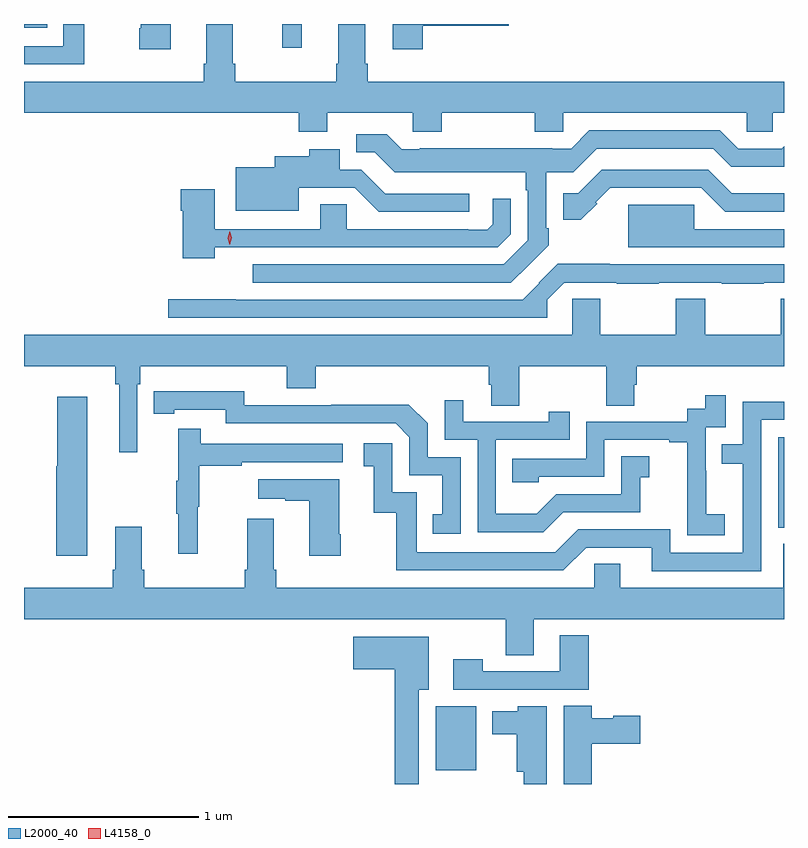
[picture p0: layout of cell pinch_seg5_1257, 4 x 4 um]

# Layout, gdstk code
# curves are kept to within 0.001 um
import gdstk
lib = gdstk.Library(unit=1e-6, precision=1e-09)
def R(c, l, rs):  # rectangles x0, y0, x1, y1
    for r in rs: c.add(gdstk.rectangle(r[:2], r[2:], *l))
def P(c, l, *ps):  # polygons
    for p in ps: c.add(gdstk.Polygon(p, *l))
L2000_40 = (2000, 40)
L4158_0 = (4158, 0)

pinch_seg5_1257 = lib.new_cell('pinch_seg5_1257')
R(pinch_seg5_1257, L2000_40, [(494.348,834.653,494.56,834.988), (496.149,835.929,496.18,836.406), (493.54,838.455,493.643,838.58), (492.18,838.56,492.302,838.58)])
P(pinch_seg5_1257, L2000_40, [(493.777,838.112),(494.226,838.112),(494.226,838.013),(494.378,838.013),(494.378,838.112),(494.867,838.112),(494.867,838.014),(495.018,838.014),(495.018,838.112),(495.984,838.112),(495.984,838.014),(496.122,838.014),(496.122,838.112),(496.18,838.112),(496.18,838.276),(493.988,838.276),(493.988,838.372),(493.975,838.372),(493.975,838.58),(493.835,838.58),(493.835,838.372),(493.823,838.372),(493.823,838.276),(493.292,838.276),(493.292,838.372),(493.279,838.372),(493.279,838.58),(493.139,838.58),(493.139,838.372),(493.127,838.372),(493.127,838.276),(492.18,838.276),(492.18,838.112),(493.625,838.112),(493.625,838.013),(493.777,838.013)],
  [(494.279,838.57),(494.732,838.57),(494.732,838.58),(494.12,838.58),(494.12,838.446),(494.279,838.446)],
  [(492.496,838.58),(492.387,838.58),(492.387,838.464),(492.18,838.464),(492.18,838.368),(492.496,838.368)],
  [(492.952,838.58),(492.794,838.58),(492.794,838.558),(492.787,838.558),(492.787,838.446),(492.952,838.446)],
  [(494.836,837.311),(494.941,837.415),(494.941,837.505),(494.928,837.505),(494.928,837.801),(495.072,837.801),(495.195,837.924),(495.807,837.924),(495.903,837.828),(496.18,837.828),(496.18,837.937),(496.167,837.924),(495.939,837.924),(495.843,838.02),(495.155,838.02),(495.059,837.924),(494.263,837.925),(494.263,837.921),(494.167,837.921),(494.088,838),(493.928,838),(493.928,837.906),(494.027,837.906),(494.132,837.801),(494.82,837.8),(494.82,837.704),(494.832,837.704),(494.832,837.441),(494.706,837.315),(493.383,837.315),(493.383,837.219),(494.743,837.219)],
  [(494.524,837.687),(494.082,837.687),(493.956,837.813),(493.843,837.813),(493.843,837.922),(493.682,837.922),(493.682,837.883),(493.499,837.883),(493.499,837.826),(493.295,837.826),(493.295,837.596),(493.627,837.596),(493.627,837.717),(493.92,837.717),(494.046,837.591),(494.524,837.591)],
  [(495.196,837.635),(495.19,837.641),(495.265,837.717),(495.744,837.717),(495.87,837.591),(496.18,837.591),(496.18,837.688),(495.905,837.688),(495.78,837.813),(495.222,837.813),(495.097,837.688),(495.018,837.688),(495.018,837.55),(495.111,837.55)],
  [(493.183,837.405),(494.673,837.405),(494.742,837.474),(494.742,837.661),(494.648,837.661),(494.648,837.527),(494.619,837.498),(494.519,837.498),(494.519,837.501),(493.878,837.501),(493.878,837.631),(493.739,837.631),(493.739,837.501),(493.183,837.501),(493.183,837.709),(493.004,837.709),(493.004,837.596),(493.016,837.596),(493.016,837.348),(493.183,837.348)],
  [(495.605,837.405),(496.18,837.405),(496.18,837.501),(495.708,837.501),(495.708,837.628),(495.359,837.628),(495.359,837.404),(495.605,837.404)],
  [(494.934,837.129),(495.024,837.219),(495.301,837.219),(495.301,837.214),(495.521,837.214),(495.521,837.219),(495.853,837.219),(495.853,837.214),(496.073,837.214),(496.073,837.219),(496.18,837.219),(496.18,837.315),(495.263,837.315),(495.263,837.318),(494.988,837.318),(494.889,837.219),(494.891,837.216),(494.804,837.129),(493.295,837.129),(493.295,837.131),(492.939,837.131),(492.939,837.033),(494.934,837.033)],
  [(492.777,836.684),(492.791,836.684),(492.791,836.78),(493.562,836.78),(493.562,836.663),(493.715,836.663),(493.715,836.78),(494.627,836.78),(494.627,836.682),(494.639,836.682),(494.639,836.572),(494.787,836.572),(494.787,836.78),(495.244,836.78),(495.244,836.572),(495.391,836.572),(495.391,836.682),(495.404,836.682),(495.404,836.78),(496.18,836.78),(496.18,837.134),(496.162,837.134),(496.162,836.944),(495.765,836.944),(495.765,837.134),(495.61,837.134),(495.61,836.944),(495.213,836.944),(495.213,837.134),(495.066,837.134),(495.066,836.944),(492.18,836.944),(492.18,836.78),(492.661,836.78),(492.661,836.684),(492.68,836.684),(492.68,836.325),(492.777,836.325)],
  [(494.478,836.301),(494.304,836.301),(494.304,836.478),(494.206,836.576),(493.798,836.576),(493.798,836.574),(493.338,836.574),(493.338,836.647),(492.862,836.646),(492.862,836.53),(492.97,836.53),(492.97,836.55),(493.242,836.55),(493.242,836.478),(494.136,836.478),(494.208,836.406),(494.208,836.205),(494.381,836.205),(494.381,836.001),(494.332,836.001),(494.332,835.896),(494.478,835.896)],
  [(495.868,835.999),(495.77,835.999),(495.77,836.228),(495.768,836.228),(495.768,836.457),(495.873,836.457),(495.873,836.626),(495.765,836.626),(495.765,836.556),(495.672,836.556),(495.672,836.487),(495.138,836.487),(495.138,836.292),(494.749,836.292),(494.749,836.169),(494.889,836.169),(494.889,836.196),(495.234,836.196),(495.234,836.391),(495.575,836.391),(495.575,836.379),(495.671,836.379),(495.671,836.095),(495.67,836.095),(495.67,835.889),(495.868,835.889)],
  [(492.514,836.617),(492.356,836.617),(492.356,836.253),(492.35,836.253),(492.35,835.782),(492.514,835.782)],
  [(495.019,836.01),(495.423,836.01),(495.423,836.195),(495.472,836.195),(495.472,836.305),(495.324,836.305),(495.324,836.106),(494.982,836.106),(494.878,836.002),(494.664,836.002),(494.664,836.391),(495.053,836.391),(495.053,836.539),(494.942,836.539),(494.942,836.487),(494.491,836.487),(494.491,836.599),(494.394,836.599),(494.394,836.391),(494.568,836.391),(494.568,835.905),(494.914,835.905)],
  [(496.059,836.496),(496.18,836.496),(496.18,836.592),(495.963,836.592),(495.963,836.367),(495.853,836.367),(495.853,836.266),(495.963,836.266),(495.963,835.797),(495.582,835.797),(495.582,835.92),(495.096,835.92),(494.976,835.8),(494.247,835.8),(494.247,836.115),(494.118,836.115),(494.118,836.374),(493.968,836.374),(493.968,836.253),(494.021,836.253),(494.021,836.007),(494.139,836.007),(494.139,835.704),(495.018,835.704),(495.138,835.824),(495.485,835.824),(495.485,835.701),(496.059,835.701)],
  [(493.094,836.04),(493.102,836.04),(493.102,836.254),(493.325,836.254),(493.325,836.274),(493.858,836.274),(493.858,836.37),(493.109,836.37),(493.109,836.449),(492.992,836.449),(492.992,836.177),(492.981,836.177),(492.981,836.003),(492.992,836.003),(492.992,835.791),(493.094,835.791)],
  [(493.848,835.894),(493.84,835.894),(493.84,836.185),(493.413,836.185),(493.413,836.081),(493.556,836.081),(493.556,836.071),(493.682,836.071),(493.682,835.782),(493.848,835.782)],
  [(494.863,835.448),(496.18,835.448),(496.18,835.844),(496.175,835.844),(496.175,835.612),(495.319,835.612),(495.319,835.739),(495.18,835.739),(495.18,835.612),(493.508,835.612),(493.508,835.708),(493.495,835.708),(493.495,835.975),(493.355,835.975),(493.355,835.708),(493.343,835.708),(493.343,835.612),(492.812,835.612),(492.812,835.708),(492.799,835.708),(492.799,835.933),(492.659,835.933),(492.659,835.708),(492.647,835.708),(492.647,835.612),(492.18,835.612),(492.18,835.448),(494.716,835.448),(494.716,835.258),(494.863,835.258)],
  [(495.152,835.363),(494.999,835.363),(494.999,835.173),(494.595,835.173),(494.595,835.237),(494.439,835.237),(494.439,835.077),(495.152,835.077)],
  [(494.257,835.076),(494.311,835.076),(494.311,835.354),(493.914,835.354),(493.914,835.184),(494.132,835.184),(494.132,834.58),(494.257,834.58)],
  [(495.167,834.791),(495.424,834.791),(495.424,834.938),(495.281,834.938),(495.281,834.925),(495.167,834.925),(495.167,834.992),(495.02,834.992),(495.02,834.58),(495.167,834.58)],
  [(494.932,834.988),(494.778,834.988),(494.778,834.964),(494.645,834.964),(494.645,834.842),(494.774,834.842),(494.774,834.644),(494.81,834.644),(494.81,834.58),(494.932,834.58)])
P(pinch_seg5_1257, L4158_0, [(493.264,837.418),(493.264,837.418),(493.253,837.453),(493.262,837.489),(493.262,837.489),(493.262,837.489),(493.273,837.454),(493.264,837.418)])

lib.write_gds('pinch_seg5_1257.gds')
